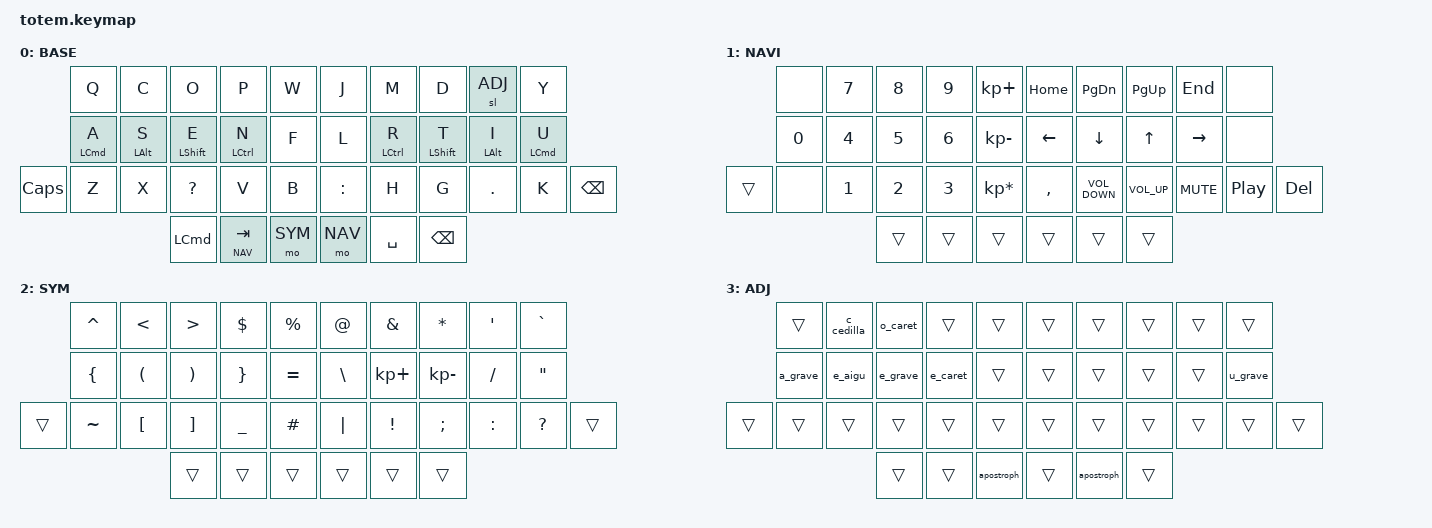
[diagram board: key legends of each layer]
//
//                                                        ▀▀▀▀▀     ▀▀▀▀▀          ▀▀█▀▀
//                                                        ▄▀▀▀▄  ▄  ▄▀▀▀▄  ▄  ▄▀▀▀▄  █  ▄▀▀▀▄
//                                                        █   █  █  █   █  █  █   █  █  █   █
//                                                         ▀▀▀   █   ▀▀▀   █   ▀▀▀   ▀   ▀▀▀
//                                                               █      ▄▄▄█▄▄▄    █   █  
//                                                               ▀      █  █  █     █▄█
//                                                             ▀▀▀▀▀    █  █  █      ▀
//                                                                      ▀  ▀  ▀
//
// ▄▄▄▄▄▄▄▄▄▄▄▄▄▄▄▄▄▄▄▄▄▄▄▄▄▄▄▄▄▄▄▄▄▄▄▄▄▄▄▄▄▄▄▄▄▄▄▄▄▄▄▄▄▄▄▄▄▄▄▄▄▄▄▄▄▄▄▄▄▄▄▄▄▄▄▄▄▄▄▄▄▄▄▄▄▄▄▄▄▄▄▄▄▄▄▄▄▄▄▄▄▄▄▄▄▄▄▄▄▄▄▄▄▄▄▄▄▄▄▄▄▄▄▄▄▄▄▄▄▄▄▄▄▄▄▄▄▄▄▄▄▄▄▄▄▄▄▄▄

#include <behaviors.dtsi>
#include <dt-bindings/zmk/keys.h>

#define BASE 0
#define NAV  1
#define SYM  2
#define ADJ  3
#define TVP1 4
#define TVP2 5

&mt {
    quick-tap-ms = <100>;
    global-quick-tap;
    flavor = "tap-preferred";
    tapping-term-ms = <170>;
};

&soft_off { hold-time-ms = <1000>; };

/ {
    behaviors {
        layer_1_lock_tap_dance: layer_1_lock_tap_dance {
            compatible = "zmk,behavior-tap-dance";
            label = "LAYER_1_LOCK_TAP_DANCE";
            #binding-cells = <0>;
            bindings = <&mo 1>, <&tog 1>;
        };

        hml: home_row_mod_left {
            compatible = "zmk,behavior-hold-tap";
            #binding-cells = <2>;
            flavor = "balanced";
            require-prior-idle-ms = <20>;
            tapping-term-ms = <280>;
            quick-tap-ms = <175>;
            bindings = <&kp>, <&kp>;

            hold-trigger-key-positions = <5 6 7 8 9 15 16 17 18 19 26 27 28 29 30 31 35 36 37>;
            hold-trigger-on-release;
        };

        hmr: home_row_mod_right {
            compatible = "zmk,behavior-hold-tap";
            #binding-cells = <2>;
            flavor = "balanced";
            require-prior-idle-ms = <20>;
            tapping-term-ms = <280>;
            quick-tap-ms = <175>;
            bindings = <&kp>, <&kp>;

            hold-trigger-key-positions = <0 1 2 3 4 10 11 12 13 14 20 21 22 23 24 25 32 33 34>;
            hold-trigger-on-release;
        };
    };

    combos {
        compatible = "zmk,combos";

        combo_esc {
            timeout-ms = <50>;
            key-positions = <0 1>;
            bindings = <&kp ESC>;
        };

        enter_combo_right {
            bindings = <&kp ENTER>;
            key-positions = <16 17 18>;
        };

        enter_combo_left {
            bindings = <&kp ENTER>;
            key-positions = <11 12 13>;
        };

        command_combo {
            timeout-ms = <50>;
            key-positions = <33 36>;
            bindings = <&kp LEFT_COMMAND>;
        };

        turn_off_combo {
            key-positions = <20 31>;
            bindings = <&soft_off>;
        };
    };

    macros {
        e_aigu: e_aigu {
            wait-ms = <0>;
            tap-ms = <0>;
            compatible = "zmk,behavior-macro";
            #binding-cells = <0>;
            bindings = <&kp SQT &kp E>;
            label = "E_AIGU";
        };

        e_grave: e_grave {
            wait-ms = <0>;
            tap-ms = <0>;
            compatible = "zmk,behavior-macro";
            #binding-cells = <0>;
            bindings = <&kp GRAVE &kp E>;
            label = "E_GRAVE";
        };

        e_caret: e_caret {
            wait-ms = <0>;
            tap-ms = <0>;
            compatible = "zmk,behavior-macro";
            #binding-cells = <0>;
            bindings = <&kp CARET &kp E>;
            label = "E_CARET";
        };

        o_caret: o_caret {
            wait-ms = <0>;
            tap-ms = <0>;
            compatible = "zmk,behavior-macro";
            #binding-cells = <0>;
            bindings = <&kp CARET &kp O>;
            label = "O_CARET";
        };

        a_grave: a_grave {
            wait-ms = <0>;
            tap-ms = <0>;
            compatible = "zmk,behavior-macro";
            #binding-cells = <0>;
            bindings = <&kp GRAVE &kp A>;
            label = "A_GRAVE";
        };

        u_grave: u_grave {
            wait-ms = <0>;
            tap-ms = <0>;
            compatible = "zmk,behavior-macro";
            #binding-cells = <0>;
            bindings = <&kp GRAVE &kp U>;
            label = "U_GRAVE";
        };

        apostroph: apostroph {
            wait-ms = <0>;
            tap-ms = <0>;
            compatible = "zmk,behavior-macro";
            #binding-cells = <0>;
            bindings = <&kp SQT &kp SPACE>;
            label = "APOSTROPH";
        };

        c_cedilla: c_cedilla {
            wait-ms = <0>;
            tap-ms = <0>;
            compatible = "zmk,behavior-macro";
            #binding-cells = <0>;
            bindings =
                <&macro_press>,
                <&kp RIGHT_ALT>,
                <&macro_tap>,
                <&kp COMMA>,
                <&macro_release>,
                <&kp RIGHT_ALT>;

            label = "C_CEDILLA";
        };
    };

    keymap {
        compatible = "zmk,keymap";

        // ▄▄▄▄▄▄▄▄▄▄▄▄▄▄▄▄▄▄▄▄▄▄▄▄▄▄▄▄▄▄▄▄▄▄▄▄▄▄▄▄▄▄▄▄▄▄▄▄▄▄▄▄▄▄▄▄▄▄▄▄▄▄▄▄▄▄▄▄▄▄▄▄▄▄▄▄▄▄▄▄▄▄▄▄▄▄▄▄▄▄▄▄▄▄▄▄▄▄▄▄▄▄▄▄▄▄▄▄▄▄▄▄▄▄▄▄▄▄▄▄▄▄▄▄▄▄▄▄▄▄▄▄▄▄▄▄▄▄▄▄▄▄▄▄▄▄▄▄▄

        base_layer {
            // ┏━━━━━━━━━━━━━━━━━━━━━━━━━━━━━━━━━━━━━━━┓

            label = "BASE";

            // ┗━━━━━━━━━━━━━━━━━━━━━━━━━━━━━━━━━━━━━━━┛
            //             ┏━━━━━━━━━━━┳━━━━━━━━━━━┳━━━━━━━━━━━┳━━━━━━━━━━━┳━━━━━━━━━━━┓   ┏━━━━━━━━━━━┳━━━━━━━━━━━┳━━━━━━━━━━━┳━━━━━━━━━━━┳━━━━━━━━━━━┓
            //             ┃     Q     ┃     C     ┃     O     ┃     P     ┃     W     ┃   ┃     J     ┃     M     ┃     D     ┃     !     ┃     Y     ┃
            //             ┣━━━━━━━━━━━╋━━━━━━━━━━━╋━━━━━━━━━━━╋━━━━━━━━━━━╋━━━━━━━━━━━┫   ┣━━━━━━━━━━━╋━━━━━━━━━━━╋━━━━━━━━━━━╋━━━━━━━━━━━╋━━━━━━━━━━━┫
            //             ┃     A     ┃     S     ┃     E     ┃     N     ┃     F     ┃   ┃     L     ┃     R     ┃     T     ┃     I     ┃     U     ┃
            // ┏━━━━━━━━━━━╋━━━━━━━━━━━╋━━━━━━━━━━━╋━━━━━━━━━━━╋━━━━━━━━━━━╋━━━━━━━━━━━┫   ┣━━━━━━━━━━━╋━━━━━━━━━━━╋━━━━━━━━━━━╋━━━━━━━━━━━╋━━━━━━━━━━━╋━━━━━━━━━━━┓
            // ┃    ESC    ┃     Z     ┃     X     ┃     ?     ┃     V     ┃     B     ┃   ┃     :     ┃     H     ┃     G     ┃     .     ┃     K     ┃    BSPC   ┃
            // ┗━━━━━━━━━━━┻━━━━━━━━━━━┻━━━━━━━━━━━╋━━━━━━━━━━━╋━━━━━━━━━━━╋━━━━━━━━━━━┫   ┣━━━━━━━━━━━╋━━━━━━━━━━━╋━━━━━━━━━━━╋━━━━━━━━━━━┻━━━━━━━━━━━┻━━━━━━━━━━━┛
            //                                     ┃    LGUI   ┃    TAB    ┃    l 2    ┃   ┃    l 1    ┃   SPACE   ┃   BSPC    ┃
            //                                     ┗━━━━━━━━━━━┻━━━━━━━━━━━┻━━━━━━━━━━━┛   ┗━━━━━━━━━━━┻━━━━━━━━━━━┻━━━━━━━━━━━┛

            bindings = <
              &kp Q                &kp C            &kp O             &kp P         &kp W      &kp J      &kp M         &kp D         &sl ADJ          &kp Y
              &hml LEFT_COMMAND A  &hml LEFT_ALT S  &hml LSHFT E      &hml LCTRL N  &kp F      &kp L      &hmr LCTRL R  &hmr LSHFT T  &hmr LEFT_ALT I  &hmr LEFT_COMMAND U
&kp CAPSLOCK  &kp Z                &kp X            &kp QUESTION      &kp V         &kp B      &kp COLON  &kp H         &kp G         &kp DOT          &kp K                &kp BSPC
                                                    &kp LEFT_COMMAND  &lt NAV TAB   &mo SYM    &mo NAV    &kp SPACE     &kp BSPC
            >;
        };

        // ▄▄▄▄▄▄▄▄▄▄▄▄▄▄▄▄▄▄▄▄▄▄▄▄▄▄▄▄▄▄▄▄▄▄▄▄▄▄▄▄▄▄▄▄▄▄▄▄▄▄▄▄▄▄▄▄▄▄▄▄▄▄▄▄▄▄▄▄▄▄▄▄▄▄▄▄▄▄▄▄▄▄▄▄▄▄▄▄▄▄▄▄▄▄▄▄▄▄▄▄▄▄▄▄▄▄▄▄▄▄▄▄▄▄▄▄▄▄▄▄▄▄▄▄▄▄▄▄▄▄▄▄▄▄▄▄▄▄▄▄▄▄▄▄▄▄▄▄▄

        nav_layer {
            // ┏━━━━━━━━━━━━━━━━━━━━━━━━━━━━━━━━━━━━━━━┓

            label = "NAVI";

            // ┗━━━━━━━━━━━━━━━━━━━━━━━━━━━━━━━━━━━━━━━┛
            //             ┏━━━━━━━━━━━┳━━━━━━━━━━━┳━━━━━━━━━━━┳━━━━━━━━━━━┳━━━━━━━━━━━┓   ┏━━━━━━━━━━━┳━━━━━━━━━━━┳━━━━━━━━━━━┳━━━━━━━━━━━┳━━━━━━━━━━━┓
            //             ┃           ┃           ┃     UP    ┃           ┃     {     ┃   ┃     }     ┃     7     ┃     8     ┃     9     ┃     +     ┃
            //             ┣━━━━━━━━━━━╋━━━━━━━━━━━╋━━━━━━━━━━━╋━━━━━━━━━━━╋━━━━━━━━━━━┫   ┣━━━━━━━━━━━╋━━━━━━━━━━━╋━━━━━━━━━━━╋━━━━━━━━━━━╋━━━━━━━━━━━┫
            //             ┃   SHIFT   ┃   LEFT    ┃    DOWN   ┃   RIGHT   ┃     [     ┃   ┃     ]     ┃     4     ┃     5     ┃     6     ┃     -     ┃
            // ┏━━━━━━━━━━━╋━━━━━━━━━━━╋━━━━━━━━━━━╋━━━━━━━━━━━╋━━━━━━━━━━━╋━━━━━━━━━━━┫   ┣━━━━━━━━━━━╋━━━━━━━━━━━╋━━━━━━━━━━━╋━━━━━━━━━━━╋━━━━━━━━━━━╋━━━━━━━━━━━┓
            // ┃           ┃           ┃   P UP    ┃  C LOCK   ┃  P DOWN   ┃     (     ┃   ┃     )     ┃     1     ┃     2     ┃     3     ┃     *     ┃           ┃
            // ┗━━━━━━━━━━━┻━━━━━━━━━━━┻━━━━━━━━━━━╋━━━━━━━━━━━╋━━━━━━━━━━━╋━━━━━━━━━━━┫   ┣━━━━━━━━━━━╋━━━━━━━━━━━╋━━━━━━━━━━━╋━━━━━━━━━━━┻━━━━━━━━━━━┻━━━━━━━━━━━┛
            //                                     ┃           ┃    TAB    ┃    SPC    ┃   ┃    DEL    ┃     0     ┃           ┃
            //                                     ┗━━━━━━━━━━━┻━━━━━━━━━━━┻━━━━━━━━━━━┛   ┗━━━━━━━━━━━┻━━━━━━━━━━━┻━━━━━━━━━━━┛

            bindings = <
        &none   &kp NUMBER_7  &kp NUMBER_8  &kp NUMBER_9  &kp KP_PLUS        &kp HOME   &kp PAGE_DOWN      &kp PAGE_UP      &kp END     &none
        &kp N0  &kp NUMBER_4  &kp NUMBER_5  &kp NUMBER_6  &kp KP_MINUS       &kp LEFT   &kp DOWN           &kp UP_ARROW     &kp RIGHT   &none
&trans  &none   &kp NUMBER_1  &kp NUMBER_2  &kp NUMBER_3  &kp KP_MULTIPLY    &kp COMMA  &kp C_VOLUME_DOWN  &kp C_VOLUME_UP  &kp C_MUTE  &kp C_PLAY_PAUSE  &kp DEL
                              &trans        &trans        &trans             &trans     &trans             &trans
            >;
        };

        // ▄▄▄▄▄▄▄▄▄▄▄▄▄▄▄▄▄▄▄▄▄▄▄▄▄▄▄▄▄▄▄▄▄▄▄▄▄▄▄▄▄▄▄▄▄▄▄▄▄▄▄▄▄▄▄▄▄▄▄▄▄▄▄▄▄▄▄▄▄▄▄▄▄▄▄▄▄▄▄▄▄▄▄▄▄▄▄▄▄▄▄▄▄▄▄▄▄▄▄▄▄▄▄▄▄▄▄▄▄▄▄▄▄▄▄▄▄▄▄▄▄▄▄▄▄▄▄▄▄▄▄▄▄▄▄▄▄▄▄▄▄▄▄▄▄▄▄▄▄

        sim_layer {
            // ┏━━━━━━━━━━━━━━━━━━━━━━━━━━━━━━━━━━━━━━━┓

            label = "SYM";

            // ┗━━━━━━━━━━━━━━━━━━━━━━━━━━━━━━━━━━━━━━━┛
            //             ┏━━━━━━━━━━━┳━━━━━━━━━━━┳━━━━━━━━━━━┳━━━━━━━━━━━┳━━━━━━━━━━━┓   ┏━━━━━━━━━━━┳━━━━━━━━━━━┳━━━━━━━━━━━┳━━━━━━━━━━━┳━━━━━━━━━━━┓
            //             ┃     !     ┃     @     ┃     #     ┃     $     ┃     %     ┃   ┃     ˆ     ┃     &     ┃     Ü     ┃     '     ┃     "     ┃
            //             ┣━━━━━━━━━━━╋━━━━━━━━━━━╋━━━━━━━━━━━╋━━━━━━━━━━━╋━━━━━━━━━━━┫   ┣━━━━━━━━━━━╋━━━━━━━━━━━╋━━━━━━━━━━━╋━━━━━━━━━━━╋━━━━━━━━━━━┫
            //             ┃     Ä     ┃           ┃    SZ     ┃           ┃           ┃   ┃   MUTE    ┃   YEN     ┃   EURO    ┃  POUND    ┃     Ö     ┃
            // ┏━━━━━━━━━━━╋━━━━━━━━━━━╋━━━━━━━━━━━╋━━━━━━━━━━━╋━━━━━━━━━━━╋━━━━━━━━━━━┫   ┣━━━━━━━━━━━╋━━━━━━━━━━━╋━━━━━━━━━━━╋━━━━━━━━━━━╋━━━━━━━━━━━╋━━━━━━━━━━━┓
            // ┃           ┃  EMAIL1   ┃  EMAIL2   ┃           ┃           ┃           ┃   ┃   VOL-    ┃   VOL+    ┃   LAST    ┃   NEXT    ┃     \     ┃           ┃
            // ┗━━━━━━━━━━━┻━━━━━━━━━━━┻━━━━━━━━━━━╋━━━━━━━━━━━╋━━━━━━━━━━━╋━━━━━━━━━━━┫   ┣━━━━━━━━━━━╋━━━━━━━━━━━╋━━━━━━━━━━━╋━━━━━━━━━━━┻━━━━━━━━━━━┻━━━━━━━━━━━┛
            //                                     ┃           ┃    GIF    ┃    ADJ    ┃   ┃           ┃           ┃           ┃
            //                                     ┗━━━━━━━━━━━┻━━━━━━━━━━━┻━━━━━━━━━━━┛   ┗━━━━━━━━━━━┻━━━━━━━━━━━┻━━━━━━━━━━━┛

            bindings = <
        &kp CARET       &kp LESS_THAN         &kp GREATER_THAN       &kp DLLR         &kp PRCNT    &kp AT_SIGN    &kp AMPERSAND    &kp ASTRK      &kp SINGLE_QUOTE  &kp GRAVE
        &kp LEFT_BRACE  &kp LEFT_PARENTHESIS  &kp RIGHT_PARENTHESIS  &kp RIGHT_BRACE  &kp EQUAL    &kp BACKSLASH  &kp KP_PLUS      &kp KP_MINUS   &kp SLASH         &kp DOUBLE_QUOTES
&trans  &kp TILDE       &kp LEFT_BRACKET      &kp RIGHT_BRACKET      &kp UNDERSCORE   &kp HASH     &kp PIPE       &kp EXCLAMATION  &kp SEMICOLON  &kp COLON         &kp QUESTION       &trans
                                              &trans                 &trans           &trans       &trans         &trans           &trans
            >;
        };

        // ▄▄▄▄▄▄▄▄▄▄▄▄▄▄▄▄▄▄▄▄▄▄▄▄▄▄▄▄▄▄▄▄▄▄▄▄▄▄▄▄▄▄▄▄▄▄▄▄▄▄▄▄▄▄▄▄▄▄▄▄▄▄▄▄▄▄▄▄▄▄▄▄▄▄▄▄▄▄▄▄▄▄▄▄▄▄▄▄▄▄▄▄▄▄▄▄▄▄▄▄▄▄▄▄▄▄▄▄▄▄▄▄▄▄▄▄▄▄▄▄▄▄▄▄▄▄▄▄▄▄▄▄▄▄▄▄▄▄▄▄▄▄▄▄▄▄▄▄▄

        adjust_layer {
            // ┏━━━━━━━━━━━━━━━━━━━━━━━━━━━━━━━━━━━━━━━┓

            label = "ADJ";

            // ┗━━━━━━━━━━━━━━━━━━━━━━━━━━━━━━━━━━━━━━━┛
            //             ┏━━━━━━━━━━━┳━━━━━━━━━━━┳━━━━━━━━━━━┳━━━━━━━━━━━┳━━━━━━━━━━━┓   ┏━━━━━━━━━━━┳━━━━━━━━━━━┳━━━━━━━━━━━┳━━━━━━━━━━━┳━━━━━━━━━━━┓
            //             ┃   RESET   ┃ BT CLEAR  ┃  OUT TOG  ┃           ┃           ┃   ┃           ┃    F7     ┃    F8     ┃    F9     ┃    F12    ┃
            //             ┣━━━━━━━━━━━╋━━━━━━━━━━━╋━━━━━━━━━━━╋━━━━━━━━━━━╋━━━━━━━━━━━┫   ┣━━━━━━━━━━━╋━━━━━━━━━━━╋━━━━━━━━━━━╋━━━━━━━━━━━╋━━━━━━━━━━━┫
            //             ┃ BOOTLOAD  ┃ BT NEXT   ┃           ┃           ┃           ┃   ┃           ┃    F4     ┃    F5     ┃    F6     ┃    F11    ┃
            // ┏━━━━━━━━━━━╋━━━━━━━━━━━╋━━━━━━━━━━━╋━━━━━━━━━━━╋━━━━━━━━━━━╋━━━━━━━━━━━┫   ┣━━━━━━━━━━━╋━━━━━━━━━━━╋━━━━━━━━━━━╋━━━━━━━━━━━╋━━━━━━━━━━━╋━━━━━━━━━━━┓
            // ┃           ┃           ┃ BT PREV   ┃           ┃           ┃           ┃   ┃           ┃    F1     ┃    F2     ┃    F3     ┃    F10    ┃           ┃
            // ┗━━━━━━━━━━━┻━━━━━━━━━━━┻━━━━━━━━━━━╋━━━━━━━━━━━╋━━━━━━━━━━━╋━━━━━━━━━━━┫   ┣━━━━━━━━━━━╋━━━━━━━━━━━╋━━━━━━━━━━━╋━━━━━━━━━━━┻━━━━━━━━━━━┻━━━━━━━━━━━┛
            //                                     ┃           ┃           ┃           ┃   ┃           ┃           ┃           ┃
            //                                     ┗━━━━━━━━━━━┻━━━━━━━━━━━┻━━━━━━━━━━━┛   ┗━━━━━━━━━━━┻━━━━━━━━━━━┻━━━━━━━━━━━┛

            bindings = <
        &trans    &c_cedilla  &o_caret  &trans    &trans        &trans  &trans      &trans  &trans  &trans
        &a_grave  &e_aigu     &e_grave  &e_caret  &trans        &trans  &trans      &trans  &trans  &u_grave
&trans  &trans    &trans      &trans    &trans    &trans        &trans  &trans      &trans  &trans  &trans    &trans
                              &trans    &trans    &apostroph    &trans  &apostroph  &trans
            >;
        };

        // ▄▄▄▄▄▄▄▄▄▄▄▄▄▄▄▄▄▄▄▄▄▄▄▄▄▄▄▄▄▄▄▄▄▄▄▄▄▄▄▄▄▄▄▄▄▄▄▄▄▄▄▄▄▄▄▄▄▄▄▄▄▄▄▄▄▄▄▄▄▄▄▄▄▄▄▄▄▄▄▄▄▄▄▄▄▄▄▄▄▄▄▄▄▄▄▄▄▄▄▄▄▄▄▄▄▄▄▄▄▄▄▄▄▄▄▄▄▄▄▄▄▄▄▄▄▄▄▄▄▄▄▄▄▄▄▄▄▄▄▄▄▄▄▄▄▄▄▄▄
    };
};
